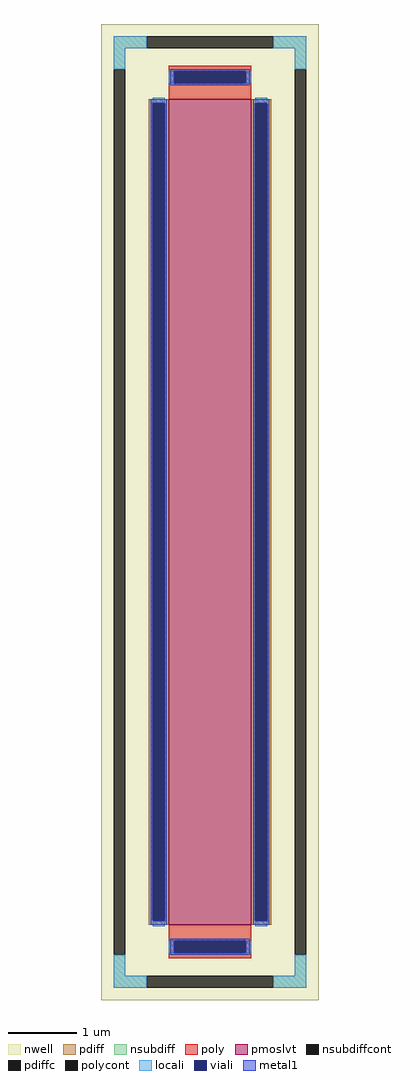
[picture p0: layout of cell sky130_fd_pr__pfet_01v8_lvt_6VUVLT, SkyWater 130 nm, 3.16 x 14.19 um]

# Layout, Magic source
magic
tech sky130A
magscale 1 2
<< nwell >>
rect -316 -1419 316 1419
<< pmoslvt >>
rect -120 -1200 120 1200
<< pdiff >>
rect -178 1188 -120 1200
rect -178 -1188 -166 1188
rect -132 -1188 -120 1188
rect -178 -1200 -120 -1188
rect 120 1188 178 1200
rect 120 -1188 132 1188
rect 166 -1188 178 1188
rect 120 -1200 178 -1188
<< pdiffc >>
rect -166 -1188 -132 1188
rect 132 -1188 166 1188
<< nsubdiff >>
rect -280 1349 -184 1383
rect 184 1349 280 1383
rect -280 1287 -246 1349
rect 246 1287 280 1349
rect -280 -1349 -246 -1287
rect 246 -1349 280 -1287
rect -280 -1383 -184 -1349
rect 184 -1383 280 -1349
<< nsubdiffcont >>
rect -184 1349 184 1383
rect -280 -1287 -246 1287
rect 246 -1287 280 1287
rect -184 -1383 184 -1349
<< poly >>
rect -120 1281 120 1297
rect -120 1247 -104 1281
rect 104 1247 120 1281
rect -120 1200 120 1247
rect -120 -1247 120 -1200
rect -120 -1281 -104 -1247
rect 104 -1281 120 -1247
rect -120 -1297 120 -1281
<< polycont >>
rect -104 1247 104 1281
rect -104 -1281 104 -1247
<< locali >>
rect -280 1349 -184 1383
rect 184 1349 280 1383
rect -280 1287 -246 1349
rect 246 1287 280 1349
rect -120 1247 -104 1281
rect 104 1247 120 1281
rect -166 1188 -132 1204
rect -166 -1204 -132 -1188
rect 132 1188 166 1204
rect 132 -1204 166 -1188
rect -120 -1281 -104 -1247
rect 104 -1281 120 -1247
rect -280 -1349 -246 -1287
rect 246 -1349 280 -1287
rect -280 -1383 -184 -1349
rect 184 -1383 280 -1349
<< viali >>
rect -104 1247 104 1281
rect -166 -1188 -132 1188
rect 132 -1188 166 1188
rect -104 -1281 104 -1247
<< metal1 >>
rect -116 1281 116 1287
rect -116 1247 -104 1281
rect 104 1247 116 1281
rect -116 1241 116 1247
rect -172 1188 -126 1200
rect -172 -1188 -166 1188
rect -132 -1188 -126 1188
rect -172 -1200 -126 -1188
rect 126 1188 172 1200
rect 126 -1188 132 1188
rect 166 -1188 172 1188
rect 126 -1200 172 -1188
rect -116 -1247 116 -1241
rect -116 -1281 -104 -1247
rect 104 -1281 116 -1247
rect -116 -1287 116 -1281
<< properties >>
string FIXED_BBOX -263 -1366 263 1366
string gencell sky130_fd_pr__pfet_01v8_lvt
string library sky130
string parameters w 12.0 l 1.2 m 1 nf 1 diffcov 100 polycov 100 guard 1 glc 1 grc 1 gtc 1 gbc 1 tbcov 100 rlcov 100 topc 1 botc 1 poverlap 0 doverlap 1 lmin 0.35 wmin 0.42 compatible {sky130_fd_pr__pfet_01v8  sky130_fd_pr__pfet_01v8_lvt sky130_fd_pr__pfet_01v8_hvt  sky130_fd_pr__pfet_g5v0d10v5} full_metal 1 viasrc 100 viadrn 100 viagate 100 viagb 0 viagr 0 viagl 0 viagt 0
<< end >>
